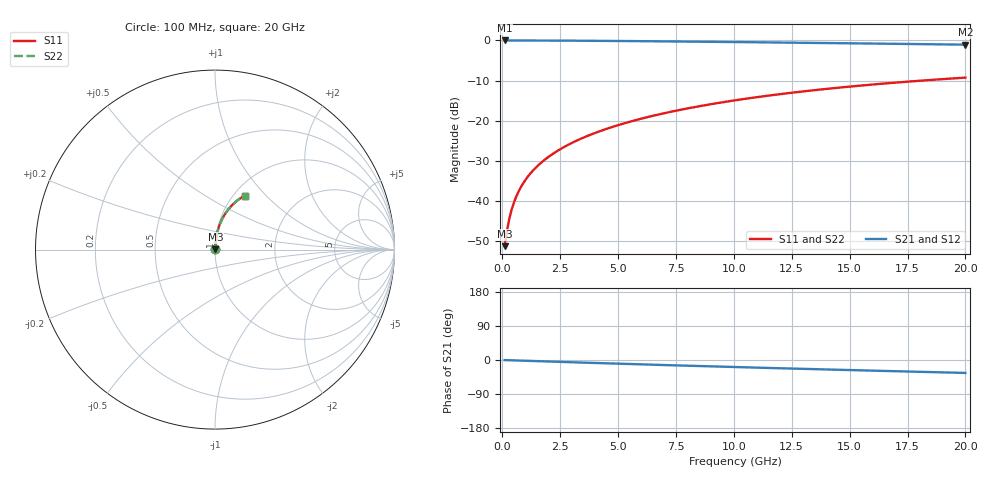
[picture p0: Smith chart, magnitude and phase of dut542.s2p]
! Touchstone file exported from HFSS 2024.1.0
!  File:  C:/UserFiles/LocalFiles/RDL_TSV_Batchsim/temp_RDL_bottom_542_1779688949.aedt
!  Generated:  02:04:55 PM May 25, 2026
!  Design:  RDL_bottom
!  Project:  temp_RDL_bottom_542_1779688949
!  Setup:  Setup1
!  Solution:  Sweep
! Variables:
!  dtsv = 10.80580581um
!  hbump = 3um
!  htsv = 90.43um
!  ldown = 467.22um
!  lrdl = 100um
!  p = 40
!  p1 = 48.67um
!  rhole = 1um
!  t = 450um
!  tdown = 4.93um
!  trdl = 3.915915916um
!  wdown = 18um
!  wrdl = 20um
# GHz S MA R 50.000000
! Terminal data exported
! Port[1] = RDL1_T1
! Port[2] = RDL1_T2
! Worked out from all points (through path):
!   200 points, 100 MHz to 20 GHz, reference 50 ohm
!   highest |S21| = -0.02 dB at 100 MHz (marker M1); lowest = -1.1 dB at 20 GHz (marker M2)
!   group delay of S21, straight-line fit = 4.71 ps
!   lowest |S11| = -51.3 dB at 100 MHz (marker M3), VSWR 1.01, Z = 50.2 + j0.187 ohm
!   |S11| at or under -10 dB: start of sweep to 18.16 GHz
!   |S22| runs from -51.3 to -9.3 dB; largest |S21 - S12| = 2.7e-15
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0.1  0.002729 43.1  0.998 -0.2  0.998 -0.2  0.002729 43.1
! Gamma 0 0 0 0
! Port Impedance 50 0 50 0
0.2  0.004237 61.4  0.9979 -0.4  0.9979 -0.4  0.004237 61.4
0.3  0.005945 69.5  0.9978 -0.6  0.9978 -0.6  0.005945 69.5
0.4  0.007708 73.8  0.9977 -0.8  0.9977 -0.8  0.007708 73.8
0.5  0.009487 76.4  0.9975 -1.0  0.9975 -1.0  0.009487 76.4
0.7  0.01303 79.3  0.9973 -1.4  0.9973 -1.4  0.01303 79.3
0.8  0.01479 80.2  0.9972 -1.6  0.9972 -1.6  0.01479 80.2
1  0.01828 81.3  0.9969 -2.0  0.9969 -2.0  0.01828 81.3
1.2  0.02174 82.1  0.9966 -2.4  0.9966 -2.4  0.02174 82.1
1.4  0.02518 82.6  0.9962 -2.8  0.9962 -2.8  0.02518 82.6
1.7  0.03032 83.2  0.9956 -3.4  0.9956 -3.4  0.03032 83.2
2  0.03545 83.5  0.9949 -4.0  0.9949 -4.0  0.03545 83.5
2.7  0.04749 83.8  0.9928 -5.3  0.9928 -5.3  0.04749 83.8
3.5  0.06139 83.7  0.9898 -6.9  0.9898 -6.9  0.06139 83.7
4.2  0.07369 83.3  0.9868 -8.2  0.9868 -8.2  0.07369 83.3
5  0.08788 82.7  0.983 -9.7  0.983 -9.7  0.08788 82.7
6.8  0.1202 80.9  0.9733 -13.0  0.9733 -13.0  0.1202 80.9
8.4  0.1493 78.8  0.9638 -15.8  0.9638 -15.8  0.1493 78.8
10.1  0.1801 76.4  0.9531 -18.7  0.9531 -18.7  0.1801 76.4
13.4  0.2384 71.4  0.9311 -24.1  0.9311 -24.1  0.2384 71.4
16.7  0.2933 66.3  0.9082 -29.2  0.9082 -29.2  0.2933 66.3
20  0.3436 61.2  0.8846 -34.1  0.8846 -34.1  0.3437 61.3
